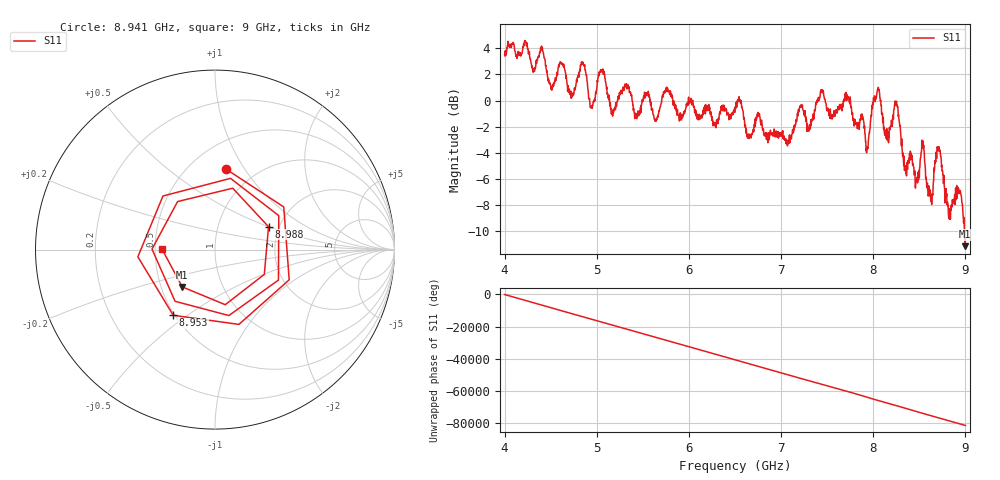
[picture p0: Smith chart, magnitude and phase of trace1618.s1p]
! Created with skrf 1.8.0 (http://scikit-rf.org).
# Hz S RI R 50.0
!freq ReS11 ImS11
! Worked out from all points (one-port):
!   1601 points, 4 GHz to 9 GHz, reference 50 ohm
!   lowest |S11| = -11.2 dB at 8.997 GHz (marker M1), VSWR 1.76, Z = 32 - j14.4 ohm
!   |S11| at or under -10 dB: 8.989435 GHz to end of sweep
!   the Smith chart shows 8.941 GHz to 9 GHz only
!   S11 on the Smith chart (normalised r, x): 8.941 GHz: 0.74, +0.83; 8.953 GHz: 0.49, -0.44; 8.988 GHz: 1.76, +0.50; 9 GHz: 0.54, +0.01
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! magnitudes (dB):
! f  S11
! 4 GHz  3.5
! 4.512 GHz  0.8
! 4.625 GHz  2.8
! 4.728 GHz  0.2
! 4.853 GHz  2.8
! 4.941 GHz  -0.5
! 5.05 GHz  2.2
! 5.166 GHz  -0.8
! 5.25 GHz  0.4
! 5.875 GHz  -0.7
! 6.5 GHz  -0.5
! 7.125 GHz  -2.2
! 7.441 GHz  0.6
! 7.75 GHz  0.3
! 7.934 GHz  -3.7
! 8.038 GHz  0.5
! 8.147 GHz  -2.2
! 8.247 GHz  -0.2
! 8.375 GHz  -4.7
! 8.538 GHz  -3.5
! 8.622 GHz  -7.2
! 8.709 GHz  -3.7
! 8.825 GHz  -9.1
! 8.941 GHz  -6.9
! 8.953 GHz  -7.3
! 8.988 GHz  -9.8
! 8.997 GHz  -11.2
! 9 GHz  -10.6
